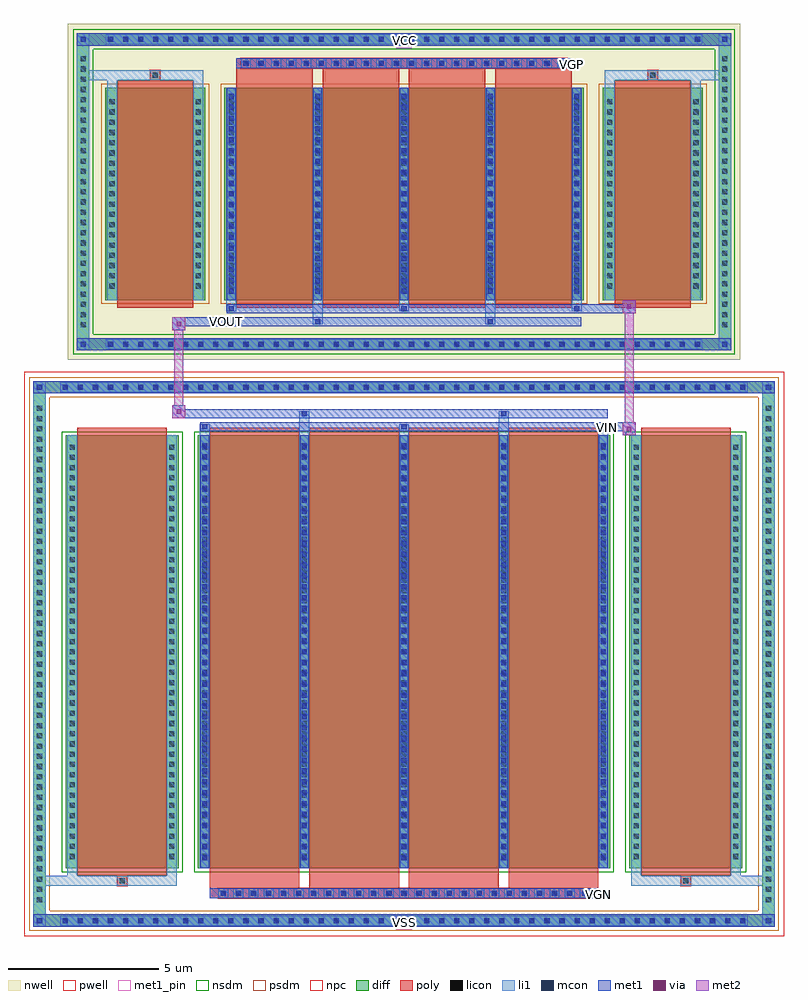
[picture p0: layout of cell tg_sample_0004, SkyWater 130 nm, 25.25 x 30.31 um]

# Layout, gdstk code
import gdstk
lib = gdstk.Library(unit=1e-6, precision=5e-09)
def R(c, l, rs):  # rectangles x0, y0, x1, y1
    for r in rs: c.add(gdstk.rectangle(r[:2], r[2:], *l))
def A(c, l, x, y, w, h, nx, ny, dx, dy):  # array of equal rectangles
    R(c, l, [(x+i*dx, y+j*dy, x+i*dx+w, y+j*dy+h) for i in range(nx) for j in range(ny)])
def P(c, l, *ps):  # polygons
    for p in ps: c.add(gdstk.Polygon(p, *l))
nwell = (64, 20)
pwell = (64, 44)
diff = (65, 20)
poly = (66, 20)
licon = (66, 44)
li1 = (67, 20)
mcon = (67, 44)
met1_pin = (68, 16)
met1 = (68, 20)
via = (68, 44)
met2 = (69, 20)
nsdm = (93, 44)
psdm = (94, 20)
npc = (95, 20)

tg_sample_0004 = lib.new_cell('tg_sample_0004')
R(tg_sample_0004, nwell, [(-11.175,9.775,11.175,20.935)])
R(tg_sample_0004, pwell, [(-12.625,-9.375,12.625,9.375)])
A(tg_sample_0004, diff, -11.455, -9.065, 0.41, 0.41, 46, 2, 0.5, 17.72)
A(tg_sample_0004, diff, -12.315, -8.365, 0.41, 0.41, 1, 49, 0, 0.34)
A(tg_sample_0004, diff, 11.905, -8.365, 0.41, 0.41, 1, 49, 0, 0.34)
A(tg_sample_0004, diff, -9.955, 10.085, 0.41, 0.41, 40, 2, 0.5, 10.13)
A(tg_sample_0004, diff, -10.865, 10.73, 0.41, 0.41, 1, 27, 0, 0.34)
A(tg_sample_0004, diff, 10.455, 10.73, 0.41, 0.41, 1, 27, 0, 0.34)
R(tg_sample_0004, diff, [(-11.455,-9.065,11.455,-8.655), (-12.315,-8.365,-11.905,8.365), (11.905,-8.365,12.315,8.365), (-11.245,-7.12,-7.485,7.26), (-6.845,-7.12,6.845,7.26), (7.485,-7.12,11.245,7.26), (-11.455,8.655,11.455,9.065), (-9.955,10.085,9.955,10.495), (-10.865,10.73,-10.455,19.98), (10.455,10.73,10.865,19.98), (-9.925,11.76,-6.605,18.81), (-5.965,11.76,5.965,18.81), (6.605,11.76,9.925,18.81), (-9.955,20.215,9.955,20.625)])
P(tg_sample_0004, diff, [(12.315,9.065),(-12.315,9.065),(-12.315,-8.655),(-11.905,-8.655),(-11.905,8.655),(11.905,8.655),(11.905,-8.655),(-11.905,-8.655),(-12.315,-8.655),(-12.315,-9.065),(12.315,-9.065)],
  [(10.865,10.085),(-10.865,10.085),(-10.865,20.215),(-10.455,20.215),(-10.455,10.495),(10.455,10.495),(10.455,20.215),(-10.455,20.215),(-10.865,20.215),(-10.865,20.625),(10.865,20.625)])
A(tg_sample_0004, poly, -6.165, -8.11, 0.33, 0.33, 25, 1, 0.5, 0)
A(tg_sample_0004, poly, -6.455, -7.78, 2.98, 0.41, 4, 1, 3.31, 0)
A(tg_sample_0004, poly, -6.455, -7.37, 2.98, 14.88, 4, 1, 3.31, 0)
A(tg_sample_0004, poly, -5.575, 11.51, 2.54, 7.55, 4, 1, 2.87, 0)
A(tg_sample_0004, poly, -5.575, 19.06, 2.54, 0.405, 4, 1, 2.87, 0)
A(tg_sample_0004, poly, -5.415, 19.465, 0.33, 0.33, 22, 1, 0.5, 0)
R(tg_sample_0004, poly, [(-6.455,-8.11,6.455,-7.78), (-9.53,-7.7,-9.2,-7.37), (-9.53,-7.7,-9.2,-7.37), (9.2,-7.7,9.53,-7.37), (9.2,-7.7,9.53,-7.37), (-10.855,-7.37,-7.875,7.51), (7.875,-7.37,10.855,7.51), (-9.535,11.51,-6.995,19.06), (6.995,11.51,9.535,19.06), (-8.43,19.06,-8.1,19.39), (-8.43,19.06,-8.1,19.39), (8.1,19.06,8.43,19.39), (8.1,19.06,8.43,19.39), (-5.575,19.465,5.575,19.795)])
A(tg_sample_0004, licon, -11.335, -8.945, 0.17, 0.17, 46, 2, 0.5, 17.72)
A(tg_sample_0004, licon, -12.195, -8.245, 0.17, 0.17, 1, 49, 0, 0.34)
A(tg_sample_0004, licon, 12.025, -8.245, 0.17, 0.17, 1, 49, 0, 0.34)
A(tg_sample_0004, licon, -6.085, -8.03, 0.17, 0.17, 25, 1, 0.5, 0)
A(tg_sample_0004, licon, -11.105, -6.815, 0.17, 0.17, 1, 41, 0, 0.34)
A(tg_sample_0004, licon, -7.795, -6.815, 0.17, 0.17, 1, 41, 0, 0.34)
A(tg_sample_0004, licon, -6.705, -6.815, 0.17, 0.17, 5, 41, 3.31, 0.34)
A(tg_sample_0004, licon, 7.625, -6.815, 0.17, 0.17, 1, 41, 0, 0.34)
A(tg_sample_0004, licon, 10.935, -6.815, 0.17, 0.17, 1, 41, 0, 0.34)
A(tg_sample_0004, licon, -9.835, 10.205, 0.17, 0.17, 40, 2, 0.5, 10.13)
A(tg_sample_0004, licon, -10.745, 10.85, 0.17, 0.17, 1, 27, 0, 0.34)
A(tg_sample_0004, licon, 10.575, 10.85, 0.17, 0.17, 1, 27, 0, 0.34)
A(tg_sample_0004, licon, -9.785, 12.14, 0.17, 0.17, 1, 19, 0, 0.34)
A(tg_sample_0004, licon, -6.915, 12.14, 0.17, 0.17, 1, 19, 0, 0.34)
A(tg_sample_0004, licon, -5.825, 12.14, 0.17, 0.17, 5, 19, 2.87, 0.34)
A(tg_sample_0004, licon, 6.745, 12.14, 0.17, 0.17, 1, 19, 0, 0.34)
A(tg_sample_0004, licon, 9.615, 12.14, 0.17, 0.17, 1, 19, 0, 0.34)
A(tg_sample_0004, licon, -5.335, 19.545, 0.17, 0.17, 22, 1, 0.5, 0)
R(tg_sample_0004, licon, [(-9.45,-7.62,-9.28,-7.45), (9.28,-7.62,9.45,-7.45), (-8.35,19.14,-8.18,19.31), (8.18,19.14,8.35,19.31)])
A(tg_sample_0004, li1, -11.415, -9.025, 0.33, 0.33, 46, 2, 0.5, 17.72)
A(tg_sample_0004, li1, -12.275, -8.325, 0.33, 0.33, 1, 49, 0, 0.34)
A(tg_sample_0004, li1, 11.945, -8.325, 0.33, 0.33, 1, 49, 0, 0.34)
A(tg_sample_0004, li1, -6.165, -8.11, 0.33, 0.33, 25, 1, 0.5, 0)
A(tg_sample_0004, li1, -6.785, -7.12, 0.33, 14.38, 5, 1, 3.31, 0)
A(tg_sample_0004, li1, -11.185, -6.895, 0.33, 0.33, 1, 41, 0, 0.34)
A(tg_sample_0004, li1, -7.875, -6.895, 0.33, 0.33, 1, 41, 0, 0.34)
A(tg_sample_0004, li1, -6.785, -6.895, 0.33, 0.33, 5, 41, 3.31, 0.34)
A(tg_sample_0004, li1, 7.545, -6.895, 0.33, 0.33, 1, 41, 0, 0.34)
A(tg_sample_0004, li1, 10.855, -6.895, 0.33, 0.33, 1, 41, 0, 0.34)
A(tg_sample_0004, li1, -6.705, -6.855, 0.17, 0.17, 5, 39, 3.31, 0.36)
A(tg_sample_0004, li1, -6.705, -6.855, 0.17, 13.85, 5, 1, 3.31, 0)
A(tg_sample_0004, li1, -6.785, 7.26, 0.33, 0.375, 3, 1, 6.62, 0)
A(tg_sample_0004, li1, -6.705, 7.465, 0.17, 0.17, 3, 1, 6.62, 0)
A(tg_sample_0004, li1, -9.915, 10.125, 0.33, 0.33, 40, 2, 0.5, 10.13)
A(tg_sample_0004, li1, -10.825, 10.77, 0.33, 0.33, 1, 27, 0, 0.34)
A(tg_sample_0004, li1, 10.495, 10.77, 0.33, 0.33, 1, 27, 0, 0.34)
A(tg_sample_0004, li1, -5.905, 11.385, 0.33, 0.375, 3, 1, 5.74, 0)
A(tg_sample_0004, li1, -5.825, 11.385, 0.17, 0.17, 3, 1, 5.74, 0)
A(tg_sample_0004, li1, -5.905, 11.76, 0.33, 7.05, 5, 1, 2.87, 0)
A(tg_sample_0004, li1, -5.825, 11.96, 0.17, 0.17, 5, 19, 2.87, 0.36)
A(tg_sample_0004, li1, -5.825, 11.96, 0.17, 6.65, 5, 1, 2.87, 0)
A(tg_sample_0004, li1, -9.865, 12.06, 0.33, 0.33, 1, 19, 0, 0.34)
A(tg_sample_0004, li1, -6.995, 12.06, 0.33, 0.33, 1, 19, 0, 0.34)
A(tg_sample_0004, li1, -5.905, 12.06, 0.33, 0.33, 5, 19, 2.87, 0.34)
A(tg_sample_0004, li1, 6.665, 12.06, 0.33, 0.33, 1, 19, 0, 0.34)
A(tg_sample_0004, li1, 9.535, 12.06, 0.33, 0.33, 1, 19, 0, 0.34)
A(tg_sample_0004, li1, -5.415, 19.465, 0.33, 0.33, 22, 1, 0.5, 0)
R(tg_sample_0004, li1, [(-12.315,-9.065,-11.905,-8.655), (11.905,-9.065,12.315,-8.655), (-11.415,-9.025,11.415,-8.695), (-12.195,-8.945,-12.025,-8.775), (-12.195,-8.945,-12.025,-8.775), (12.025,-8.945,12.195,-8.775), (12.025,-8.945,12.195,-8.775), (-12.315,-8.655,-11.905,8.655), (11.905,-8.655,12.315,8.655), (-12.315,-7.7,-9.53,-7.37), (-11.185,-7.7,-9.53,-7.37), (-11.185,-7.7,-10.855,-7.12), (-9.53,-7.7,-9.2,-7.37), (-9.2,-7.7,-7.545,-7.37), (-7.875,-7.7,-7.545,-7.12), (7.545,-7.7,9.2,-7.37), (7.545,-7.7,7.875,-7.12), (9.2,-7.7,9.53,-7.37), (9.2,-7.7,12.315,-7.37), (9.53,-7.7,11.185,-7.37), (10.855,-7.7,11.185,-7.12), (-11.185,-7.12,-10.855,7.26), (-7.875,-7.12,-7.545,7.26), (7.545,-7.12,7.875,7.26), (10.855,-7.12,11.185,7.26), (-3.475,7.26,-3.145,8.065), (3.145,7.26,3.475,8.065), (-3.395,7.895,-3.225,8.065), (3.225,7.895,3.395,8.065), (-12.315,8.655,-11.905,9.065), (11.905,8.655,12.315,9.065), (-11.415,8.695,11.415,9.025), (-12.195,8.775,-12.025,8.945), (-12.195,8.775,-12.025,8.945), (12.025,8.775,12.195,8.945), (12.025,8.775,12.195,8.945), (-10.865,10.085,-10.455,10.495), (10.455,10.085,10.865,10.495), (-9.915,10.125,9.915,10.455), (-10.745,10.205,-10.575,10.375), (-10.745,10.205,-10.575,10.375), (10.575,10.205,10.745,10.375), (10.575,10.205,10.745,10.375), (-10.865,10.495,-10.455,20.215), (10.455,10.495,10.865,20.215), (-3.035,10.955,-2.705,11.76), (-2.955,10.955,-2.785,11.125), (2.705,10.955,3.035,11.76), (2.785,10.955,2.955,11.125), (-9.865,11.76,-9.535,18.81), (-6.995,11.76,-6.665,18.81), (6.665,11.76,6.995,18.81), (9.535,11.76,9.865,18.81), (-9.865,18.81,-9.535,19.39), (-6.995,18.81,-6.665,19.39), (6.665,18.81,6.995,19.39), (9.535,18.81,9.865,19.39), (-10.865,19.06,-8.43,19.39), (-9.865,19.06,-8.43,19.39), (-8.43,19.06,-8.1,19.39), (-8.1,19.06,-6.665,19.39), (6.665,19.06,8.1,19.39), (8.1,19.06,8.43,19.39), (8.1,19.06,10.865,19.39), (8.43,19.06,9.865,19.39), (-10.865,20.215,-10.455,20.625), (10.455,20.215,10.865,20.625), (-9.915,20.255,9.915,20.585), (-10.745,20.335,-10.575,20.505), (-10.745,20.335,-10.575,20.505), (10.575,20.335,10.745,20.505), (10.575,20.335,10.745,20.505)])
A(tg_sample_0004, mcon, -11.335, -8.945, 0.17, 0.17, 46, 2, 0.5, 17.72)
A(tg_sample_0004, mcon, -6.085, -8.03, 0.17, 0.17, 25, 1, 0.5, 0)
A(tg_sample_0004, mcon, -6.705, -6.855, 0.17, 0.17, 5, 39, 3.31, 0.36)
A(tg_sample_0004, mcon, -6.705, 7.465, 0.17, 0.17, 3, 1, 6.62, 0)
A(tg_sample_0004, mcon, -9.835, 10.205, 0.17, 0.17, 40, 2, 0.5, 10.13)
A(tg_sample_0004, mcon, -5.825, 11.385, 0.17, 0.17, 3, 1, 5.74, 0)
A(tg_sample_0004, mcon, -5.825, 11.96, 0.17, 0.17, 5, 19, 2.87, 0.36)
A(tg_sample_0004, mcon, -5.335, 19.545, 0.17, 0.17, 22, 1, 0.5, 0)
R(tg_sample_0004, mcon, [(-12.195,-8.945,-12.025,-8.775), (12.025,-8.945,12.195,-8.775), (-3.395,7.895,-3.225,8.065), (3.225,7.895,3.395,8.065), (-12.195,8.775,-12.025,8.945), (12.025,8.775,12.195,8.945), (-10.745,10.205,-10.575,10.375), (10.575,10.205,10.745,10.375), (-2.955,10.955,-2.785,11.125), (2.785,10.955,2.955,11.125), (-10.745,20.335,-10.575,20.505), (10.575,20.335,10.745,20.505)])
R(tg_sample_0004, met1_pin, [(-0.25,-9.155,0.25,-8.655), (6.32,-8.11,6.59,-7.84), (6.63,7.405,6.9,7.675), (-6.02,10.895,-5.75,11.165), (5.44,19.465,5.71,19.735), (-0.25,20.125,0.25,20.625)])
A(tg_sample_0004, met1, -11.395, -9.005, 0.29, 0.29, 46, 2, 0.5, 17.72)
A(tg_sample_0004, met1, -6.145, -8.09, 0.29, 0.29, 25, 1, 0.5, 0)
A(tg_sample_0004, met1, -6.765, -7.12, 0.29, 14.38, 5, 1, 3.31, 0)
A(tg_sample_0004, met1, -6.765, -6.915, 0.29, 0.29, 5, 39, 3.31, 0.36)
A(tg_sample_0004, met1, -6.765, 7.405, 0.29, 0.29, 3, 1, 6.62, 0)
A(tg_sample_0004, met1, -9.895, 10.145, 0.29, 0.29, 40, 2, 0.5, 10.13)
A(tg_sample_0004, met1, -5.885, 11.325, 0.29, 0.29, 3, 1, 5.74, 0)
A(tg_sample_0004, met1, -5.885, 11.76, 0.29, 7.05, 5, 1, 2.87, 0)
A(tg_sample_0004, met1, -5.885, 11.9, 0.29, 0.29, 5, 19, 2.87, 0.36)
A(tg_sample_0004, met1, -5.395, 19.485, 0.29, 0.29, 22, 1, 0.5, 0)
R(tg_sample_0004, met1, [(-12.315,-9.065,-11.905,-8.655), (-12.315,-9.065,-11.905,-8.655), (-11.905,-9.065,11.905,-8.655), (11.905,-9.065,12.315,-8.655), (11.905,-9.065,12.315,-8.655), (-12.255,-9.005,-11.965,-8.715), (11.965,-9.005,12.255,-8.715), (-6.455,-8.11,6.455,-7.78), (7.265,7.265,7.695,7.695), (-6.765,7.405,6.765,7.695), (6.765,7.405,7.695,7.695), (-7.695,7.835,-6.765,8.125), (-7.695,7.835,-7.265,8.265), (-6.765,7.835,6.765,8.125), (-3.455,7.835,-3.165,8.125), (3.165,7.835,3.455,8.125), (-12.315,8.655,-11.905,9.065), (-12.315,8.655,-11.905,9.065), (-11.905,8.655,11.905,9.065), (11.905,8.655,12.315,9.065), (11.905,8.655,12.315,9.065), (-12.255,8.715,-11.965,9.005), (11.965,8.715,12.255,9.005), (-10.865,10.085,-10.455,10.495), (-10.865,10.085,-10.455,10.495), (-10.455,10.085,10.455,10.495), (10.455,10.085,10.865,10.495), (10.455,10.085,10.865,10.495), (-10.805,10.145,-10.515,10.435), (10.515,10.145,10.805,10.435), (-7.695,10.755,-7.265,11.185), (-7.695,10.895,-5.885,11.185), (-5.885,10.895,5.885,11.185), (-3.015,10.895,-2.725,11.185), (2.725,10.895,3.015,11.185), (-5.885,11.325,5.885,11.615), (5.885,11.325,7.695,11.615), (7.265,11.325,7.695,11.755), (-5.575,19.465,5.575,19.795), (-10.865,20.215,-10.455,20.625), (-10.865,20.215,-10.455,20.625), (-10.455,20.215,10.455,20.625), (10.455,20.215,10.865,20.625), (10.455,20.215,10.865,20.625), (-10.805,20.275,-10.515,20.565), (10.515,20.275,10.805,20.565)])
R(tg_sample_0004, via, [(7.405,7.405,7.555,7.555), (-7.555,7.975,-7.405,8.125), (-7.555,10.895,-7.405,11.045), (7.405,11.465,7.555,11.615)])
R(tg_sample_0004, met2, [(7.265,7.265,7.695,7.695), (7.335,7.265,7.625,11.755), (7.625,7.265,7.695,7.695), (7.315,7.315,7.645,7.645), (-7.695,7.835,-7.265,8.265), (-7.625,7.835,-7.335,11.185), (-7.335,7.835,-7.265,8.265), (-7.645,7.885,-7.315,8.215), (-7.695,10.755,-7.265,11.185), (-7.335,10.755,-7.265,11.185), (-7.645,10.805,-7.315,11.135), (7.265,11.325,7.695,11.755), (7.625,11.325,7.695,11.755), (7.315,11.375,7.645,11.705)])
R(tg_sample_0004, nsdm, [(-11.375,-7.25,-7.355,7.39), (-6.975,-7.25,6.975,7.39), (7.355,-7.25,11.375,7.39)])
P(tg_sample_0004, nsdm, [(10.995,9.955),(-10.995,9.955),(-10.995,20.085),(-10.325,20.085),(-10.325,10.625),(10.325,10.625),(10.325,20.085),(-10.325,20.085),(-10.995,20.085),(-10.995,20.755),(10.995,20.755)])
R(tg_sample_0004, psdm, [(-10.055,11.63,-6.475,18.94), (-6.095,11.63,6.095,18.94), (6.475,11.63,10.055,18.94)])
P(tg_sample_0004, psdm, [(12.445,9.195),(-12.445,9.195),(-12.445,-8.525),(-11.775,-8.525),(-11.775,8.525),(11.775,8.525),(11.775,-8.525),(-11.775,-8.525),(-12.445,-8.525),(-12.445,-9.195),(12.445,-9.195)])
A(tg_sample_0004, npc, -6.185, -8.13, 0.37, 0.37, 25, 1, 0.5, 0)
A(tg_sample_0004, npc, -5.435, 19.445, 0.37, 0.37, 22, 1, 0.5, 0)
R(tg_sample_0004, npc, [(-6.185,-8.13,-5.315,-7.76), (-6.185,-8.13,-5.315,-7.76), (-5.685,-8.13,-4.815,-7.76), (-5.685,-8.13,-4.815,-7.76), (-5.185,-8.13,-4.315,-7.76), (-5.185,-8.13,-4.315,-7.76), (-4.685,-8.13,-3.815,-7.76), (-4.685,-8.13,-3.815,-7.76), (-4.185,-8.13,-3.315,-7.76), (-4.185,-8.13,-3.315,-7.76), (-3.685,-8.13,-2.815,-7.76), (-3.685,-8.13,-2.815,-7.76), (-3.185,-8.13,-2.315,-7.76), (-3.185,-8.13,-2.315,-7.76), (-2.685,-8.13,-1.815,-7.76), (-2.685,-8.13,-1.815,-7.76), (-2.185,-8.13,-1.315,-7.76), (-2.185,-8.13,-1.315,-7.76), (-1.685,-8.13,-0.815,-7.76), (-1.685,-8.13,-0.815,-7.76), (-1.185,-8.13,-0.315,-7.76), (-1.185,-8.13,-0.315,-7.76), (-0.685,-8.13,0.185,-7.76), (-0.685,-8.13,0.185,-7.76), (-0.185,-8.13,0.685,-7.76), (-0.185,-8.13,0.685,-7.76), (0.315,-8.13,1.185,-7.76), (0.315,-8.13,1.185,-7.76), (0.815,-8.13,1.685,-7.76), (0.815,-8.13,1.685,-7.76), (1.315,-8.13,2.185,-7.76), (1.315,-8.13,2.185,-7.76), (1.815,-8.13,2.685,-7.76), (1.815,-8.13,2.685,-7.76), (2.315,-8.13,3.185,-7.76), (2.315,-8.13,3.185,-7.76), (2.815,-8.13,3.685,-7.76), (2.815,-8.13,3.685,-7.76), (3.315,-8.13,4.185,-7.76), (3.315,-8.13,4.185,-7.76), (3.815,-8.13,4.685,-7.76), (3.815,-8.13,4.685,-7.76), (4.315,-8.13,5.185,-7.76), (4.315,-8.13,5.185,-7.76), (4.815,-8.13,5.685,-7.76), (4.815,-8.13,5.685,-7.76), (5.315,-8.13,6.185,-7.76), (5.315,-8.13,6.185,-7.76), (-9.55,-7.72,-9.18,-7.35), (9.18,-7.72,9.55,-7.35), (-8.45,19.04,-8.08,19.41), (8.08,19.04,8.45,19.41), (-5.435,19.445,-4.565,19.815), (-5.435,19.445,-4.565,19.815), (-4.935,19.445,-4.065,19.815), (-4.935,19.445,-4.065,19.815), (-4.435,19.445,-3.565,19.815), (-4.435,19.445,-3.565,19.815), (-3.935,19.445,-3.065,19.815), (-3.935,19.445,-3.065,19.815), (-3.435,19.445,-2.565,19.815), (-3.435,19.445,-2.565,19.815), (-2.935,19.445,-2.065,19.815), (-2.935,19.445,-2.065,19.815), (-2.435,19.445,-1.565,19.815), (-2.435,19.445,-1.565,19.815), (-1.935,19.445,-1.065,19.815), (-1.935,19.445,-1.065,19.815), (-1.435,19.445,-0.565,19.815), (-1.435,19.445,-0.565,19.815), (-0.935,19.445,-0.065,19.815), (-0.935,19.445,-0.065,19.815), (-0.435,19.445,0.435,19.815), (-0.435,19.445,0.435,19.815), (0.065,19.445,0.935,19.815), (0.065,19.445,0.935,19.815), (0.565,19.445,1.435,19.815), (0.565,19.445,1.435,19.815), (1.065,19.445,1.935,19.815), (1.065,19.445,1.935,19.815), (1.565,19.445,2.435,19.815), (1.565,19.445,2.435,19.815), (2.065,19.445,2.935,19.815), (2.065,19.445,2.935,19.815), (2.565,19.445,3.435,19.815), (2.565,19.445,3.435,19.815), (3.065,19.445,3.935,19.815), (3.065,19.445,3.935,19.815), (3.565,19.445,4.435,19.815), (3.565,19.445,4.435,19.815), (4.065,19.445,4.935,19.815), (4.065,19.445,4.935,19.815), (4.565,19.445,5.435,19.815), (4.565,19.445,5.435,19.815)])
tg_sample_0004.add(gdstk.Label('VIN', (6.765,7.54), layer=68, texttype=5))
tg_sample_0004.add(gdstk.Label('VGN', (6.455,-7.975), layer=68, texttype=5))
tg_sample_0004.add(gdstk.Label('VGP', (5.575,19.6), layer=68, texttype=5))
tg_sample_0004.add(gdstk.Label('VSS', (0,-8.905), layer=68, texttype=5))
tg_sample_0004.add(gdstk.Label('VCC', (0,20.375), layer=68, texttype=5))
tg_sample_0004.add(gdstk.Label('VOUT', (-5.885,11.03), layer=68, texttype=5))

lib.write_gds('tg_sample_0004.gds')
